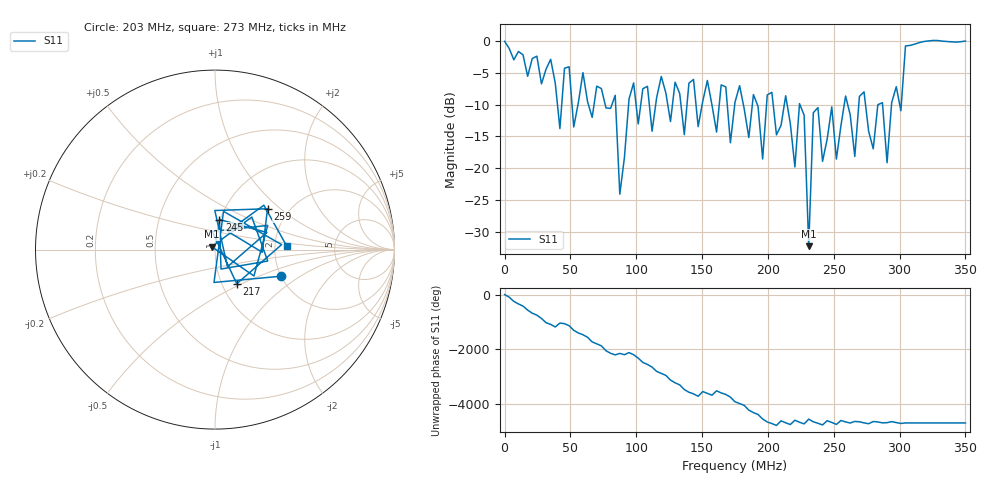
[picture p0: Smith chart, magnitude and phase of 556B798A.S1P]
!File created by NanoVNA
# Hz S RI R 50
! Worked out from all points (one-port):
!   101 points, 50 kHz to 350 MHz, reference 50 ohm
!   lowest |S11| = -32.3 dB at 231 MHz (marker M1), VSWR 1.05, Z = 48.2 + j1.56 ohm
!   |S11| at or under -10 dB: 76.47 MHz to 81.5 MHz (5.038 MHz wide, 6.38 % of centre); 84.37 MHz to 94.19 MHz (9.821 MHz wide, 11 % of centre); 224.4 MHz to 258 MHz (33.6 MHz wide, 13.9 % of centre) (the widest 3 of 21)
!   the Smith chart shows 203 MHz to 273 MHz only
!   S11 on the Smith chart (normalised r, x): 203 MHz: 2.00, -0.70; 217 MHz: 1.17, -0.47; 245 MHz: 0.99, +0.34; 259 MHz: 1.56, +0.82; 273 MHz: 2.33, +0.11
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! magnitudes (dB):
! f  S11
! 50 kHz  0.0
! 35.05 MHz  -2.8
! 42.04 MHz  -13.8
! 45.54 MHz  -4.2
! 52.54 MHz  -13.5
! 59.54 MHz  -4.9
! 84.04 MHz  -8.5
! 87.54 MHz  -24.1
! 98.04 MHz  -6.6
! 133 MHz  -8.2
! 175 MHz  -9.6
! 196 MHz  -18.5
! 203 MHz  -8.0
! 217 MHz  -12.9
! 220.5 MHz  -19.8
! 227.5 MHz  -11.6
! 231 MHz  -32.3
! 234.5 MHz  -11.3
! 245 MHz  -15.4
! 259 MHz  -8.6
! 262.5 MHz  -11.6
! 266 MHz  -18.1
! 273 MHz  -8.0
! 280 MHz  -16.9
! 287 MHz  -9.7
! 290.5 MHz  -19.1
! 308 MHz  -0.6
! 350 MHz  0.0
